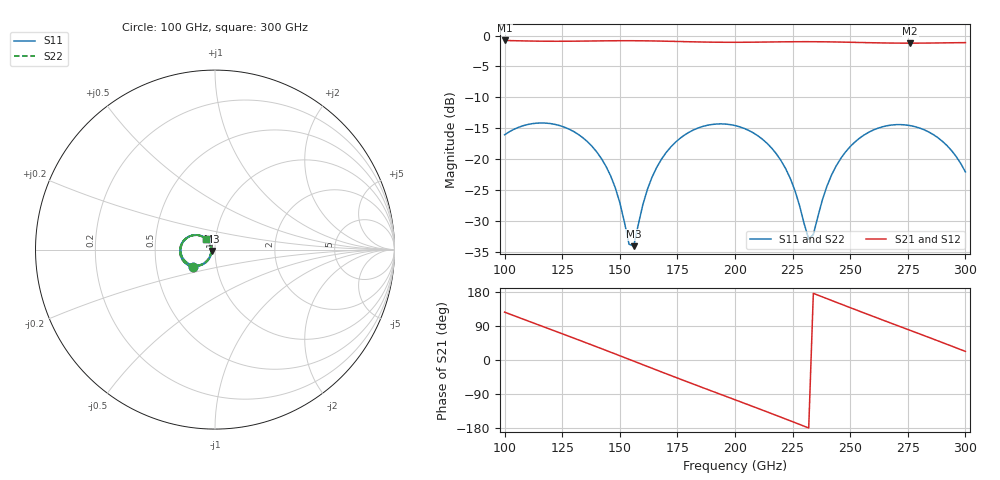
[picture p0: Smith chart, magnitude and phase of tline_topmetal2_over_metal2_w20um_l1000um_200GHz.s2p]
#  GHZ S DB R 50
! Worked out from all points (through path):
!   101 points, 100 GHz to 300 GHz, reference 50 ohm
!   highest |S21| = -0.79 dB at 100 GHz (marker M1); lowest = -1.2 dB at 276 GHz (marker M2)
!   group delay of S21, straight-line fit = 6.45 ps
!   lowest |S11| = -34.0 dB at 156 GHz (marker M3), VSWR 1.04, Z = 48.2 - j0.7 ohm
!   |S11| at or under -10 dB: start of sweep to end of sweep
!   |S22| runs from -33.6 to -14.1 dB; largest |S21 - S12| = 1.1e-14
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100  -16.03 -142.0  -0.79 126.4  -0.79 126.4  -16.03 -141.7
116  -14.12 -175.7  -0.91 89.7  -0.91 89.7  -14.12 -175.4
134  -16.52 147.2  -0.89 48.6  -0.89 48.6  -16.51 147.7
146  -22.66 127.9  -0.84 20.7  -0.84 20.7  -22.62 128.8
150  -26.99 128.8  -0.84 11.2  -0.84 11.2  -26.89 130.1
154  -33.71 159.4  -0.83 1.8  -0.83 1.8  -33.32 160.7
156  -34.03 -158.6  -0.84 -2.9  -0.84 -2.9  -33.63 -159.5
162  -24.83 -121.8  -0.86 -17.1  -0.86 -17.1  -24.78 -122.6
168  -20.03 -127.1  -0.90 -31.2  -0.90 -31.2  -20.02 -127.6
184  -14.93 -157.3  -1.03 -68.4  -1.03 -68.4  -14.93 -157.4
200  -14.54 169.9  -1.09 -104.9  -1.09 -104.9  -14.54 170.0
218  -19.14 136.0  -1.03 -146.4  -1.03 -146.4  -19.13 136.1
226  -25.02 129.9  -1.00 -165.2  -1.00 -165.2  -25.01 130.2
232  -32.89 170.9  -0.99 -179.4  -0.99 -179.4  -32.81 171.1
234  -32.15 -155.0  -1.00 175.9  -1.00 175.9  -32.08 -155.2
240  -24.24 -125.8  -1.02 161.7  -1.02 161.7  -24.23 -125.9
246  -19.81 -130.5  -1.05 147.5  -1.05 147.5  -19.80 -130.5
258  -15.63 -151.7  -1.15 119.6  -1.15 119.6  -15.63 -151.7
268  -14.46 -171.6  -1.21 96.6  -1.21 96.6  -14.45 -171.6
276  -14.55 172.3  -1.23 78.3  -1.23 78.3  -14.54 172.4
290  -17.08 145.3  -1.19 46.1  -1.19 46.1  -17.07 145.5
300  -22.03 131.5  -1.14 22.7  -1.14 22.7  -22.02 131.8
